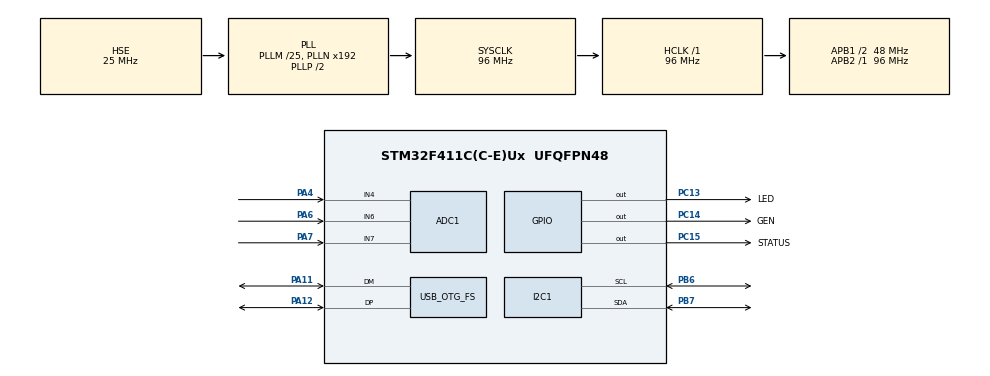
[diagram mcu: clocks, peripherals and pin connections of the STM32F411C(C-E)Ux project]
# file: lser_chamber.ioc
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ADC1.Channel-0\#ChannelRegularConversion=ADC_CHANNEL_4
ADC1.Channel-1\#ChannelRegularConversion=ADC_CHANNEL_6
ADC1.Channel-2\#ChannelRegularConversion=ADC_CHANNEL_7
ADC1.Channel-4\#ChannelRegularConversion=ADC_CHANNEL_TEMPSENSOR
ADC1.ClockPrescaler=ADC_CLOCK_SYNC_PCLK_DIV4
ADC1.ContinuousConvMode=ENABLE
ADC1.ExternalTrigConv=ADC_SOFTWARE_START
ADC1.NbrOfConversion=4
ADC1.NbrOfConversionFlag=1
ADC1.Rank-0\#ChannelRegularConversion=1
ADC1.Rank-1\#ChannelRegularConversion=2
ADC1.Rank-2\#ChannelRegularConversion=3
ADC1.Rank-4\#ChannelRegularConversion=4
ADC1.SamplingTime-0\#ChannelRegularConversion=ADC_SAMPLETIME_112CYCLES
ADC1.SamplingTime-1\#ChannelRegularConversion=ADC_SAMPLETIME_112CYCLES
ADC1.SamplingTime-2\#ChannelRegularConversion=ADC_SAMPLETIME_112CYCLES
ADC1.SamplingTime-4\#ChannelRegularConversion=ADC_SAMPLETIME_480CYCLES
ADC1.master=1
Dma.ADC1.0.Direction=DMA_PERIPH_TO_MEMORY
Dma.ADC1.0.FIFOMode=DMA_FIFOMODE_DISABLE
Dma.ADC1.0.Instance=DMA2_Stream0
Dma.ADC1.0.MemDataAlignment=DMA_MDATAALIGN_HALFWORD
Dma.ADC1.0.MemInc=DMA_MINC_ENABLE
Dma.ADC1.0.Mode=DMA_NORMAL
Dma.ADC1.0.PeriphDataAlignment=DMA_PDATAALIGN_HALFWORD
Dma.ADC1.0.PeriphInc=DMA_PINC_DISABLE
Dma.ADC1.0.Priority=DMA_PRIORITY_LOW
Dma.Request0=ADC1
I2C1.I2C_Mode=I2C_Standard
Mcu.Family=STM32F4
Mcu.Name=STM32F411C(C-E)Ux
Mcu.Package=UFQFPN48
NVIC.DMA2_Stream0_IRQn=true\:0\:0\:false\:false\:true\:false\:true
NVIC.I2C1_ER_IRQn=true\:0\:0\:false\:false\:true\:true\:true
NVIC.I2C1_EV_IRQn=true\:0\:0\:false\:false\:true\:true\:true
NVIC.OTG_FS_IRQn=true\:0\:0\:false\:false\:true\:false\:true
NVIC.PriorityGroup=NVIC_PRIORITYGROUP_4
PA0-WKUP.Signal=S_TIM2_CH1_ETR
PA1.Signal=S_TIM2_CH2
PA11.Mode=Device_Only
PA11.Signal=USB_OTG_FS_DM
PA12.Mode=Device_Only
PA12.Signal=USB_OTG_FS_DP
PA13.Mode=Serial_Wire
PA13.Signal=SYS_JTMS-SWDIO
PA14.Mode=Serial_Wire
PA14.Signal=SYS_JTCK-SWCLK
PA4.Signal=ADCx_IN4
PA6.Signal=ADCx_IN6
PA7.Signal=ADCx_IN7
PB10.Signal=S_TIM2_CH3
PB6.Mode=I2C
PB6.Signal=I2C1_SCL
PB7.Mode=I2C
PB7.Signal=I2C1_SDA
PC13-ANTI_TAMP.GPIO_Label=LED
PC13-ANTI_TAMP.Signal=GPIO_Output
PC14-OSC32_IN.GPIO_Label=GEN
PC14-OSC32_IN.Signal=GPIO_Output
PC15-OSC32_OUT.GPIO_Label=STATUS
PC15-OSC32_OUT.Signal=GPIO_Output
PH0\ -\ OSC_IN.Mode=HSE-External-Oscillator
PH0\ -\ OSC_IN.Signal=RCC_OSC_IN
PH1\ -\ OSC_OUT.Mode=HSE-External-Oscillator
PH1\ -\ OSC_OUT.Signal=RCC_OSC_OUT
ProjectManager.HeapSize=0x200
ProjectManager.StackSize=0x400
ProjectManager.TargetToolchain=Makefile
RCC.48MHZClocksFreq_Value=48000000
RCC.AHBFreq_Value=96000000
RCC.APB1CLKDivider=RCC_HCLK_DIV2
RCC.APB1Freq_Value=48000000
RCC.APB1TimFreq_Value=96000000
RCC.APB2Freq_Value=96000000
RCC.APB2TimFreq_Value=96000000
RCC.CortexFreq_Value=96000000
RCC.HCLKFreq_Value=96000000
RCC.HSE_VALUE=25000000
RCC.HSI_VALUE=16000000
RCC.LSE_VALUE=32768
RCC.PLLM=25
RCC.SYSCLKFreq_VALUE=96000000
RCC.SYSCLKSource=RCC_SYSCLKSOURCE_PLLCLK
RCC.VCOOutputFreq_Value=192000000
SH.ADCx_IN4.0=ADC1_IN4,IN4
SH.ADCx_IN6.0=ADC1_IN6,IN6
SH.ADCx_IN7.0=ADC1_IN7,IN7
SH.S_TIM2_CH1_ETR.0=TIM2_CH1
SH.S_TIM2_CH2.0=TIM2_CH2
SH.S_TIM2_CH3.0=TIM2_CH3
TIM2.Channel-Output\ Compare1\ No\ Output=TIM_CHANNEL_1
TIM2.Period=479
USB_DEVICE.CLASS_NAME_FS=CDC
USB_DEVICE.VirtualMode=Cdc
USB_DEVICE.VirtualModeFS=Cdc_FS
USB_OTG_FS.VirtualMode=Device_Only
VP_ADC1_TempSens_Input.Mode=IN-TempSens
VP_TIM2_VS_no_output1.Mode=Output Compare1 No Output
VP_USB_DEVICE_VS_USB_DEVICE_CDC_FS.Mode=CDC_FS
board=custom

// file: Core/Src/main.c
/* USER CODE BEGIN Header */
/**
  ******************************************************************************
  * @file           : main.c
  * @brief          : Main program body
  ******************************************************************************
  * @attention
  *
  * <h2><center>&copy; Copyright (c) 2021 STMicroelectronics.
  * All rights reserved.</center></h2>
  *
  * This software component is licensed by ST under Ultimate Liberty license
  * SLA0044, the "License"; You may not use this file except in compliance with
  * the License. You may obtain a copy of the License at:
  *                             www.st.com/SLA0044
  *
  ******************************************************************************
  */
/* USER CODE END Header */
#include "main.h"
#include "adc.h"
#include "dma.h"
#include "i2c.h"
#include "tim.h"
#include "usb_device.h"
#include "gpio.h"

/* USER CODE BEGIN Includes */

#include "usbd_cdc_if.h"
#include "string.h"
#include "stdio.h"
#include <stdbool.h>

#define SWDDEBUG

#define adress_i2c 0x2A
uint8_t rx_buf[9] = {1, 2, 3, 4, 5, 6, 7, 8, 9};

// rx_buf = {1, 2, 3, 4, 5, 6, 7, 8, 9}

extern uint8_t UserRxBufferFS[APP_RX_DATA_SIZE];
extern uint8_t UserTxBufferFS[APP_RX_DATA_SIZE];

#define DATA_SIZE  38554                                               /*  sample_t secund = 1/96000000/4/(122 + 12.5)  DATA_SIZE = 0.2 secund /sample_t        */

#define DEFAULT_CHAUNKS 5                                              /*  total time 0.2 * 4 = 0.8                                                             */
#define DEFAULT_DISCARGED_CHAUNKS 1                                    /*                                                                                       */
#define DEFAULT_REQUESTS_TIME_MS 1000
#define DEFAULT_COUNT_DISCHARGED_PULSES 30
#define DEFAULT_TRACING_CHANGS 10
#define DEFAULT_POLLING_PERIPHERAL_TIME_MS 5000
#define TIMEOUT 20                                                       /* Таймут в мс функции HAL_ADC_PollForConversion --------------------------> TODO     */
#define COUNT_ADC_PERIPHERAL 3                                           /* Число каналов опроса переферии. Без учата канала главного фотодиода.               */

volatile uint16_t adc_value[DATA_SIZE];
volatile uint16_t adc_periphernal_value[COUNT_ADC_PERIPHERAL + 1];

volatile uint16_t count_traking_chanks = 0;                            /* Глобальный счетчик периодов слежения. Относится к conf.count_tracking_chanks.         */

volatile uint8_t current_chank = 0;                                     /* Глобальный счетчик чанков.                                                           */
volatile uint8_t isChaunksFull = 0;                                     /* Флаг окончания опроса current_chank == conf.current_chanks.                          */

/* Пременные настройки работы АЦП -------------------------------------------*/
uint8_t is_adc_flag_polling_peripheral = 0;
uint8_t number_peripheral_devices = COUNT_ADC_PERIPHERAL;                /* Число каналов опроса переферии. Без учата канала главного фотодиода.                */
uint8_t is_start_polling_periphery = 0;                                  /* Флаг запроса на опрос переифефрии.                                                  */
u_int8_t is_ready_flag_data_peripheral = 0;                              /* Флаг готовности опроса всекх переферийных устройств.                                */

/* Пременные настройки периода событий----------------------------------------*/
unsigned long t_requests;
unsigned long t_polling_peripheral;

/* USER CODE END Includes */

/* USER CODE BEGIN PTD */

typedef enum
{
  FALSE = 0U,
  TRUE = !FALSE
} BoolState;

/* USER CODE END PTD */

/* USER CODE BEGIN PV */

#ifdef SWDDEBUG
  extern void initialise_monitor_handles(void);
#endif

/* USER CODE END PV */

void SystemClock_Config(void);

/* USER CODE BEGIN 0 */

struct response {
  uint16_t count_pulses;
  uint8_t flag_requests;
};
struct response current_response, ready_response = { 0, FALSE };

struct configurations {

  uint16_t response_period_ms;                                          /* 1 - Прериод отправки сообщей.                                                                 */
  uint8_t current_chanks;                                               /* 2 - Число чанков, один чанк 0,2 с, то есть время опросо кратно 0,2 с.                         */

  uint8_t discharged_mode;                                              /* 3 - Флаг мода режима работы лазера.
                                                                               TRUE - лазер будет включен  время `count_discharged_chanks/current_chanks * 0,2 с`
                                                                               FALSE - лазер включен всегда                                                               */
  uint8_t count_discharged_chanks;                                       /* 4 - Число чанков когда включен лазер, всегда   count_discharged_chanks <= current_chanks      */
  uint16_t count_discarge_pulses;                                        /* 5 - Отладочный коэффициент числа импульсов в 1 чанке,
                                                                                например, время сбора current_chanks = 4 чанка, count_discharged_chanks = 2, тогда общее
                                                                                чило частиц для принятия решения будет равно count_discharged_chanks*count_discarge_pulses.
                                                                              ------------------------------------------------------------------------------------->> TODO */

  uint8_t tracking_mod;                                                  /* 6 - Флаг мода режима слежения.                                                                 */
  uint16_t count_tracking_chanks;                                        /* 7 - Число периодов слежения. Время слежения равно count_tracking_chanks*current_chanks* 0,2 с. */
  uint16_t polling_period_of_peripheral;                                 /* 8 - Период опроса перефирии.                                                                   */
};
struct configurations __conf_deault, conf = {
                            DEFAULT_REQUESTS_TIME_MS,                    /* 1 */
                            DEFAULT_CHAUNKS,                             /* 2 */
                            TRUE,                                        /* 3 */
                            DEFAULT_DISCARGED_CHAUNKS,                   /* 4 */
                            DEFAULT_COUNT_DISCHARGED_PULSES,             /* 5 */
                            TRUE,                                        /* 6 */
                            DEFAULT_TRACING_CHANGS,                      /* 7 */
                            DEFAULT_POLLING_PERIPHERAL_TIME_MS,          /* 8 */
};

void response_copy(){
  ready_response.count_pulses = current_response.count_pulses;
  ready_response.flag_requests = FALSE;
  current_response.count_pulses = 0;
}

void clear_buff(){
  for (int i = 0; i < 500; i++){
    UserTxBufferFS[i] = 0;
  }
}

void send_message_virtual_com(int current){
  clear_buff();
  // sprintf((char*)UserTxBufferFS, "info: count pulses detected: %u \r\n", current);
  CDC_Transmit_FS(UserTxBufferFS, sizeof(UserTxBufferFS)/sizeof UserTxBufferFS[0]);
  ready_response.flag_requests = TRUE;
}

void laser_off(){
  HAL_GPIO_WritePin(GPIOC, LED_Pin, GPIO_PIN_SET);
}

void laser_on(){
  HAL_GPIO_WritePin(GPIOC, LED_Pin, GPIO_PIN_RESET);
}

int get_signal_analysis(void){
  int count = 0;
  int count_pulses = 0;
  for (int i = 0; i < DATA_SIZE; i++){
    if (adc_value[i] > 4000){
      count++;
    }else{
      if (count > 0){
        count_pulses++;
      }
      count = 0;
    }
  }
  return count_pulses;
}

void discharge_mode(){
  /**
  * @brief  Reports the name of the source file and the source line number
  *         where the assert_param error has occurred.
  */

  if (current_chank == conf.count_discharged_chanks){
    count_traking_chanks++;
    int count = conf.count_discarge_pulses * conf.count_discharged_chanks;
    if (current_response.count_pulses >= count){

      if (conf.tracking_mod){
        count_traking_chanks = 0;
      }
      laser_on();
    }
    else{
      if (conf.tracking_mod){
        if (conf.count_tracking_chanks < count_traking_chanks){
          laser_off();
        }
      }else{
        laser_off();
      }
    }
  }
}

void get_peripheral_data(){

  is_adc_flag_polling_peripheral = TRUE;
  MX_ADC1_Init();

  HAL_ADC_Start(&hadc1);

  for (uint8_t i = 0; i <= number_peripheral_devices;  i++){
    if (HAL_ADC_PollForConversion(&hadc1, TIMEOUT) == HAL_OK)
    {
      adc_periphernal_value[i] = HAL_ADC_GetValue(&hadc1);
    }
  }

  is_ready_flag_data_peripheral = TRUE;

  HAL_ADC_Stop(&hadc1);
  is_adc_flag_polling_peripheral = FALSE;
  MX_ADC1_Init();
}

void HAL_ADC_ConvCpltCallback(ADC_HandleTypeDef* hadc){
  if (hadc->Instance == ADC1){
    HAL_ADC_Stop_DMA(&hadc1);
    current_chank++;
    current_response.count_pulses += get_signal_analysis();

    if (conf.discharged_mode){
      discharge_mode();
    }

    if (current_chank == conf.current_chanks){
      isChaunksFull = TRUE;
      current_chank = 0;

      if (is_start_polling_periphery){
        get_peripheral_data();
        is_start_polling_periphery = FALSE;
      }

      laser_on();

    }
    HAL_ADC_Start_DMA(&hadc1, (uint32_t*)&adc_value, DATA_SIZE);
  }
}

/* USER CODE END 0 */

int main(void)
{
  /* USER CODE BEGIN 1 */
  initialise_monitor_handles();
  /* USER CODE END 1 */

  /* MCU Configuration--------------------------------------------------------*/

  /* Reset of all peripherals, Initializes the Flash interface and the Systick. */
  HAL_Init();

  /* Configure the system clock */
  SystemClock_Config();

  /* Initialize all configured peripherals */
  MX_GPIO_Init();
  MX_DMA_Init();
  MX_ADC1_Init();
  MX_USB_DEVICE_Init();
  MX_TIM2_Init();
  MX_I2C1_Init();
  /* USER CODE BEGIN 2 */

  HAL_Delay(100);

  HAL_ADC_Start_IT(&hadc1);
  HAL_ADC_Start_DMA(&hadc1, (uint32_t*)&adc_value, DATA_SIZE);

  HAL_TIM_PWM_Start(&htim2, TIM_CHANNEL_1);
  HAL_TIM_PWM_Start(&htim2, TIM_CHANNEL_2);

  t_requests = HAL_GetTick();
  t_polling_peripheral = HAL_GetTick();

  /* USER CODE END 2 */

  /* Infinite loop */
  /* USER CODE BEGIN WHILE */
  while (1)
  {

    TIM2 -> CCR1 = 10;
    TIM2 -> CCR2 = 810;

    HAL_GPIO_WritePin(GPIOC, GEN_Pin, GPIO_PIN_SET);
	  HAL_Delay(1);

	  HAL_GPIO_WritePin(GPIOC, GEN_Pin, GPIO_PIN_RESET);
	  HAL_Delay(1);

    if (isChaunksFull){
      isChaunksFull = FALSE;
      response_copy();
    }

    if (HAL_GetTick() - t_requests >= conf.response_period_ms){
      t_requests = HAL_GetTick();

      int current = 0;
      if (ready_response.flag_requests){
        current = 0;
      }else{
        current = ready_response.count_pulses;
      }
      send_message_virtual_com(current);

      const char wmsg[] = "We love STM32!dskl";

      HAL_I2C_Master_Transmit(&hi2c1, adress_i2c, (uint8_t*)wmsg, sizeof(wmsg), 10000);

    }

    if (is_ready_flag_data_peripheral){
      float temp;
      int temper;

      temp = ((float)adc_periphernal_value[3]) / 4095 * 3300;
      temp = ((temp - 760.0) / 2.5) + 25;
      temper = temp*100;

      printf("We love STM32!dskl\n");
      printf("debug: DATA EXTERNAL: %u %u %f \n", adc_periphernal_value[1], adc_periphernal_value[2],  temper);

      clear_buff();
      // sprintf((char*)UserTxBufferFS, "debug: DATA EXTERNAL: %u %u %u \r\n", adc_periphernal_value[1], adc_periphernal_value[2],  temper);
      CDC_Transmit_FS(UserTxBufferFS, sizeof(UserTxBufferFS)/sizeof UserTxBufferFS[0]);
      is_ready_flag_data_peripheral = FALSE;

      HAL_Delay(100);
      clear_buff();
      // sprintf((char*)UserTxBufferFS, "error: !!DATA ERROR TYPE: %u %u %u \r\n", adc_periphernal_value[1], adc_periphernal_value[2],  temper);
      CDC_Transmit_FS(UserTxBufferFS, sizeof(UserTxBufferFS)/sizeof UserTxBufferFS[0]);

      HAL_Delay(100);
      clear_buff();
      // sprintf((char*)UserTxBufferFS, "exception: EXETTIONS DATA: %u %u\r\n", adc_periphernal_value[1], adc_periphernal_value[2]);
      CDC_Transmit_FS(UserTxBufferFS, sizeof(UserTxBufferFS)/sizeof UserTxBufferFS[0]);

    }

    if (HAL_GetTick() - t_polling_peripheral >= conf.polling_period_of_peripheral){
      t_polling_peripheral = HAL_GetTick();
      is_start_polling_periphery = TRUE;

      // HAL_I2C_Master_Transmit(&hi2c1, adress_i2c, &rx_buf, 1, 100);

    }

    /* USER CODE END WHILE */

  }
}

void SystemClock_Config(void)
{
  RCC_OscInitTypeDef RCC_OscInitStruct = {0};
  RCC_ClkInitTypeDef RCC_ClkInitStruct = {0};

  /** Configure the main internal regulator output voltage
  */
  __HAL_RCC_PWR_CLK_ENABLE();
  __HAL_PWR_VOLTAGESCALING_CONFIG(PWR_REGULATOR_VOLTAGE_SCALE1);
  /** Initializes the RCC Oscillators according to the specified parameters
  * in the RCC_OscInitTypeDef structure.
  */
  RCC_OscInitStruct.OscillatorType = RCC_OSCILLATORTYPE_HSE;
  RCC_OscInitStruct.HSEState = RCC_HSE_ON;
  RCC_OscInitStruct.PLL.PLLState = RCC_PLL_ON;
  RCC_OscInitStruct.PLL.PLLSource = RCC_PLLSOURCE_HSE;
  RCC_OscInitStruct.PLL.PLLM = 25;
  RCC_OscInitStruct.PLL.PLLN = 192;
  RCC_OscInitStruct.PLL.PLLP = RCC_PLLP_DIV2;
  RCC_OscInitStruct.PLL.PLLQ = 4;
  if (HAL_RCC_OscConfig(&RCC_OscInitStruct) != HAL_OK)
  {
    Error_Handler();
  }
  /** Initializes the CPU, AHB and APB buses clocks
  */
  RCC_ClkInitStruct.ClockType = RCC_CLOCKTYPE_HCLK|RCC_CLOCKTYPE_SYSCLK
                              |RCC_CLOCKTYPE_PCLK1|RCC_CLOCKTYPE_PCLK2;
  RCC_ClkInitStruct.SYSCLKSource = RCC_SYSCLKSOURCE_PLLCLK;
  RCC_ClkInitStruct.AHBCLKDivider = RCC_SYSCLK_DIV1;
  RCC_ClkInitStruct.APB1CLKDivider = RCC_HCLK_DIV2;
  RCC_ClkInitStruct.APB2CLKDivider = RCC_HCLK_DIV1;

  if (HAL_RCC_ClockConfig(&RCC_ClkInitStruct, FLASH_LATENCY_3) != HAL_OK)
  {
    Error_Handler();
  }
}

void Error_Handler(void)
{
  __disable_irq();
  while (1)
  {
  }
}

/************************ (C) COPYRIGHT STMicroelectronics *****END OF FILE****/
